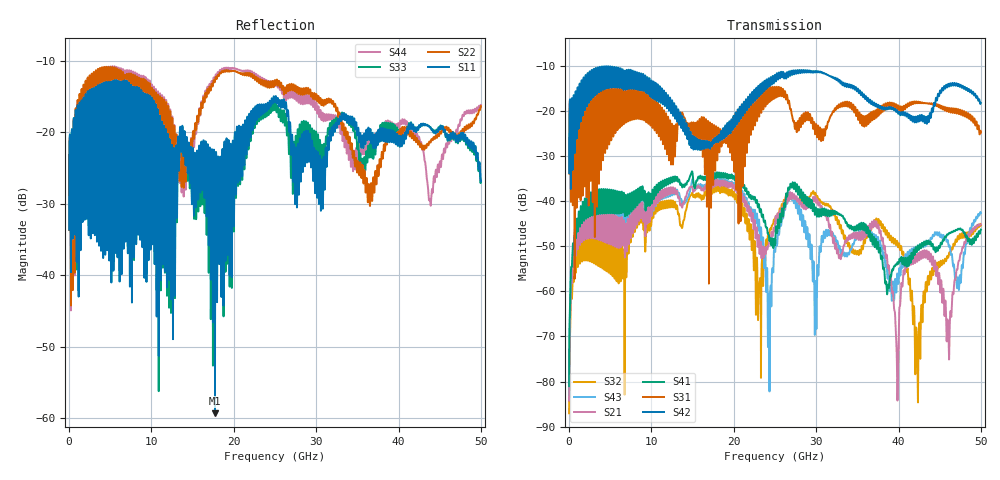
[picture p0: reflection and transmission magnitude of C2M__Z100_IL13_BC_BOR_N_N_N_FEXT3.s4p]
# GHz S MA R 50
! S-Parameters data
! Freq  magS11  angS11  magS12  angS12  magS13  angS13  magS14  angS14
!  magS21  angS21  magS22  angS22  magS23  angS23  magS24  angS24
!  magS31  angS31  magS32  angS32  magS33  angS33  magS34  angS34
!  magS41  angS41  magS42  angS42  magS43  angS43  magS44  angS44
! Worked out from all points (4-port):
!   5000 points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, 10 MHz to 50 GHz, reference 50 ohm
!   strongest paths, dB at 10 MHz, 12.51 GHz, 25.01 GHz, 37.51 GHz, 50 GHz:
!     S42: -33.8, -17.6, -12.1, -18.8, -18.2
!     S31: -33.9, -22.9, -15.1, -20.3, -24.8
!     S41: -81.0, -35.8, -49.7, -49.1, -46.3
!     S21: -84.2, -38.2, -45.1, -45.4, -45.2
!     S43: -83.1, -38.7, -51.2, -47.9, -42.6
!     S32: -87.0, -41.2, -44.0, -44.4, -45.4
!   lowest |S11| = -59.3 dB at 17.72 GHz (marker M1), VSWR 1.00, Z = 50 + j0.107 ohm
!   |S11| at or under -10 dB: start of sweep to end of sweep
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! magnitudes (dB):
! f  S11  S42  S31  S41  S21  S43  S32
! 10 MHz  -33.6  -33.8  -33.9  -81.0  -84.2  -83.1  -87.0
! 1.94 GHz  -19.9  -15.6  -18.5  -39.5  -43.2  -41.6  -46.0
! 17.72 GHz  -59.3  -25.9  -31.5  -33.8  -35.3  -35.2  -36.3
! 37.27 GHz  -21.0  -18.5  -20.8  -48.5  -44.6  -47.6  -44.1
! 39.82 GHz  -20.4  -19.8  -19.7  -53.9  -77.7  -56.7  -48.8
! 42.22 GHz  -19.4  -22.5  -18.2  -51.3  -53.1  -50.7  -70.6
! 50 GHz  -26.8  -18.2  -24.8  -46.3  -45.2  -42.6  -45.4
